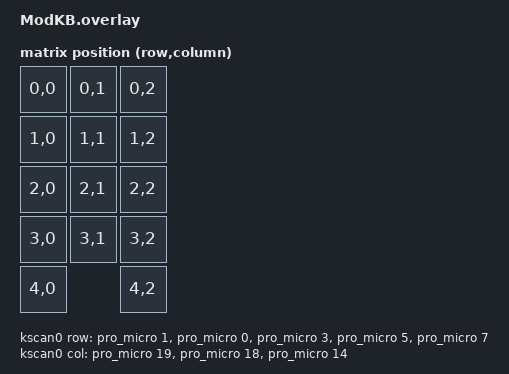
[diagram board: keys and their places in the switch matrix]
#include <dt-bindings/zmk/matrix_transform.h>
#include <dt-bindings/zmk/hid_indicators.h>

/ {
//chosen

    chosen {
        zmk,kscan = &kscan0;
        zmk,physical-layout = &physical_layout0;
    };


//kscan 
    // PIN MAPPING
    // Which pins are active, sectioned by row-column, diode move col2row

    //KEY PAD ONLY
    kscan0: kscan0 { 
        compatible = "zmk,kscan-gpio-matrix";
        wakeup-source;
        diode-direction = "col2row";

        row-gpios
            = <&pro_micro 1 (GPIO_ACTIVE_HIGH | GPIO_PULL_DOWN) > // row 1
            , <&pro_micro 0 (GPIO_ACTIVE_HIGH | GPIO_PULL_DOWN) > // row 2
            , <&pro_micro 3 (GPIO_ACTIVE_HIGH | GPIO_PULL_DOWN) > // row 3
            , <&pro_micro 5 (GPIO_ACTIVE_HIGH | GPIO_PULL_DOWN) > // row 4
            , <&pro_micro 7 (GPIO_ACTIVE_HIGH | GPIO_PULL_DOWN) > // row 5
            ;
        col-gpios 
            = <&pro_micro 19 GPIO_ACTIVE_HIGH > // column 1
            , <&pro_micro 18 GPIO_ACTIVE_HIGH > // column 2
            , <&pro_micro 14 GPIO_ACTIVE_HIGH > // column 3
            ;
    };

//transform
    // #include "matrix_transform.h" defines row coulmn like this

    default_transform: matrix_transform {
        compatible = "zmk,matrix-transform";
        columns = <3>;
        rows = <5>;
        map = <
            RC(0,0) RC(0,1) RC(0,2) 
            RC(1,0) RC(1,1) RC(1,2) 
            RC(2,0) RC(2,1) RC(2,2) 
            RC(3,0) RC(3,1) RC(3,2) 
            RC(4,0)         RC(4,2) 
        >;
    };


//physical layout
    physical_layout0: physical_layout_0 {
        compatible = "zmk,physical-layout";
        display-name = "Default layout";
        transform = <&default_transform>;
    };


//led and indicators
    // development verison, cant use the library in 0.3V
    leds {
        compatible = "gpio-leds";

        num_lock_led: num_lock{
            gpios = <&gpio0 21 GPIO_ACTIVE_HIGH>;
        };
    };

    indicators {
            compatible = "zmk,indicator-leds";

            num_lock_indicator: num_lock {
                indicator = <HID_INDICATOR_NUM_LOCK>;
                leds = <&num_lock_led>;
            };
    };

};
